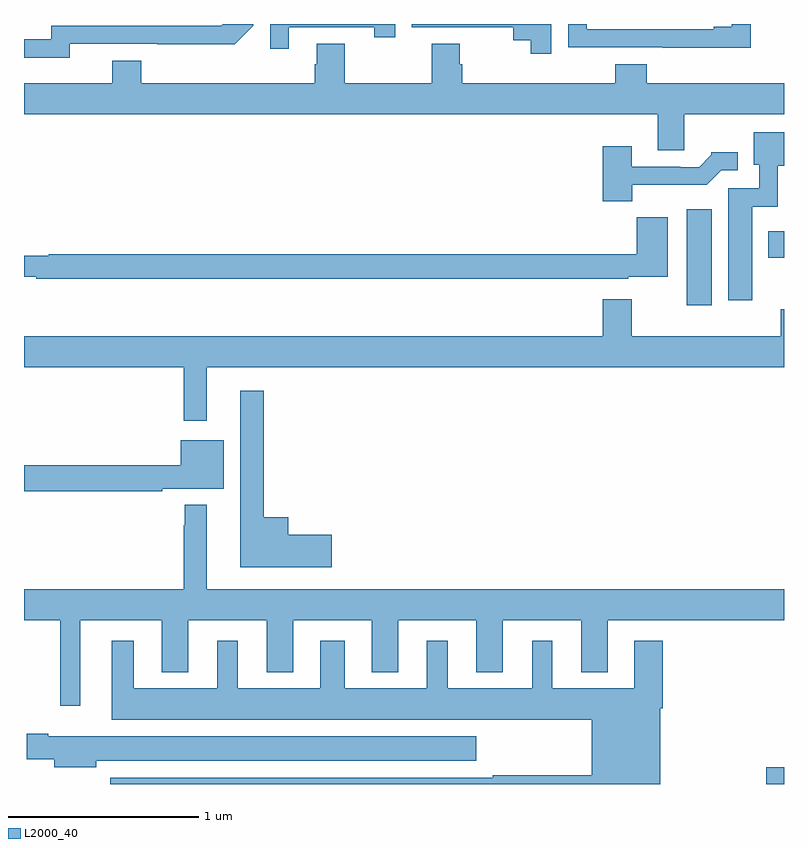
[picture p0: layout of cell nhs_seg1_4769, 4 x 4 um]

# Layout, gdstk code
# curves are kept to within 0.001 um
import gdstk
lib = gdstk.Library(unit=1e-6, precision=1e-09)
def R(c, l, rs):  # rectangles x0, y0, x1, y1
    for r in rs: c.add(gdstk.rectangle(r[:2], r[2:], *l))
def P(c, l, *ps):  # polygons
    for p in ps: c.add(gdstk.Polygon(p, *l))
L2000_40 = (2000, 40)

nhs_seg1_4769 = lib.new_cell('nhs_seg1_4769')
R(nhs_seg1_4769, L2000_40, [(372.906,556.199,373,556.286), (372.488,558.72,372.619,559.225), (372.917,558.968,373,559.108)])
P(nhs_seg1_4769, L2000_40, [(369.24,560.094),(370.108,560.093),(370.206,560.19),(370.206,560.199),(370.047,560.199),(370.038,560.19),(369.144,560.19),(369.144,560.118),(369,560.118),(369,560.021),(369.24,560.021)],
  [(370.393,560.181),(370.844,560.181),(370.844,560.13),(370.955,560.13),(370.955,560.199),(370.296,560.199),(370.296,560.07),(370.393,560.07)],
  [(371.775,560.199),(371.04,560.199),(371.04,560.181),(371.574,560.181),(371.574,560.113),(371.667,560.113),(371.667,560.043),(371.775,560.043)],
  [(372.825,560.199),(372.726,560.199),(372.726,560.185),(372.629,560.185),(372.629,560.172),(371.961,560.172),(371.961,560.199),(371.865,560.199),(371.865,560.076),(372.361,560.076),(372.361,560.075),(372.825,560.075)],
  [(372.475,559.724),(373,559.724),(373,559.888),(372.278,559.888),(372.278,559.987),(372.113,559.987),(372.113,559.888),(371.306,559.888),(371.306,559.986),(371.293,559.986),(371.293,560.096),(371.146,560.096),(371.146,559.888),(370.689,559.888),(370.689,560.096),(370.541,560.096),(370.541,559.986),(370.529,559.986),(370.529,559.888),(369.617,559.888),(369.617,560.005),(369.464,560.005),(369.464,559.888),(369,559.888),(369,559.724),(372.335,559.724),(372.335,559.534),(372.475,559.534)],
  [(372.832,559.238),(372.966,559.238),(372.966,559.454),(373,559.454),(373,559.63),(372.842,559.63),(372.842,559.458),(372.87,559.458),(372.87,559.335),(372.707,559.335),(372.707,558.744),(372.832,558.744)],
  [(372.202,559.352),(372.593,559.352),(372.669,559.428),(372.757,559.428),(372.757,559.525),(372.618,559.525),(372.618,559.51),(372.554,559.446),(372.455,559.446),(372.455,559.449),(372.199,559.449),(372.199,559.555),(372.047,559.555),(372.047,559.265),(372.202,559.265)],
  [(372.18,558.869),(372.388,558.869),(372.388,559.183),(372.226,559.183),(372.226,558.986),(369.131,558.986),(369.131,558.979),(369,558.979),(369,558.87),(369.064,558.87),(369.064,558.858),(372.18,558.858)],
  [(369.961,558.392),(373,558.392),(373,558.697),(372.983,558.697),(372.983,558.556),(372.199,558.556),(372.199,558.751),(372.047,558.751),(372.047,558.556),(369,558.556),(369,558.392),(369.84,558.392),(369.84,558.111),(369.961,558.111)],
  [(370.621,557.51),(370.39,557.51),(370.39,557.602),(370.261,557.602),(370.261,558.268),(370.139,558.268),(370.139,557.339),(370.621,557.339)],
  [(369.728,557.753),(370.051,557.753),(370.051,558.007),(369.824,558.007),(369.824,557.876),(369,557.876),(369,557.74),(369.728,557.74)],
  [(369.295,557.06),(369.725,557.06),(369.725,556.787),(369.865,556.787),(369.865,557.06),(370.277,557.06),(370.277,556.787),(370.417,556.787),(370.417,557.06),(370.829,557.06),(370.829,556.787),(370.969,556.787),(370.969,557.06),(371.381,557.06),(371.381,556.787),(371.521,556.787),(371.521,557.06),(371.933,557.06),(371.933,556.787),(372.073,556.787),(372.073,557.06),(373,557.06),(373,557.224),(369.961,557.224),(369.961,557.668),(369.846,557.668),(369.846,557.561),(369.84,557.561),(369.84,557.224),(369,557.224),(369,557.06),(369.191,557.06),(369.191,556.611),(369.295,556.611)],
  [(372.349,556.598),(372.362,556.598),(372.362,556.954),(372.212,556.954),(372.212,556.702),(371.779,556.702),(371.779,556.954),(371.675,556.954),(371.675,556.702),(371.23,556.702),(371.23,556.954),(371.12,556.954),(371.12,556.702),(370.687,556.702),(370.687,556.954),(370.559,556.954),(370.559,556.702),(370.126,556.702),(370.126,556.954),(370.016,556.954),(370.016,556.702),(369.577,556.702),(369.577,556.954),(369.461,556.954),(369.461,556.538),(371.987,556.538),(371.987,556.246),(371.467,556.246),(371.467,556.233),(369.455,556.233),(369.455,556.199),(372.349,556.199)],
  [(369.379,556.322),(371.38,556.322),(371.38,556.45),(369.127,556.45),(369.127,556.463),(369.015,556.463),(369.015,556.328),(369.158,556.328),(369.158,556.286),(369.379,556.286)])

lib.write_gds('nhs_seg1_4769.gds')
